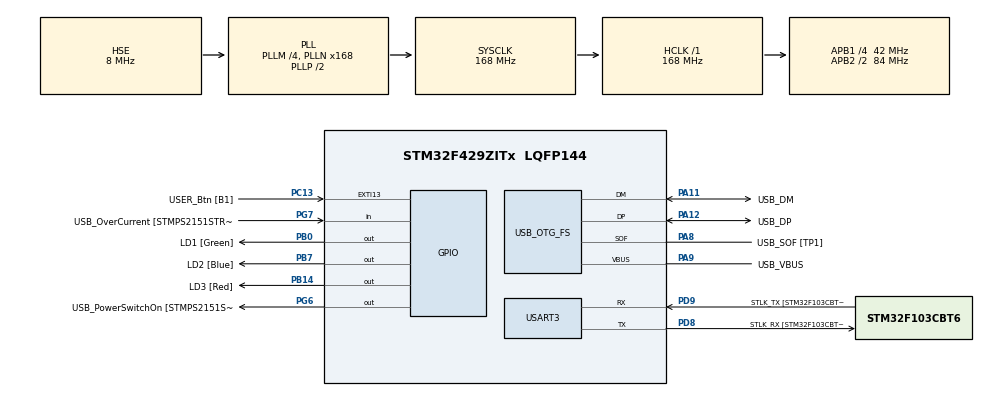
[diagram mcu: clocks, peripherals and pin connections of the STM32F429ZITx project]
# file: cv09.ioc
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Mcu.Family=STM32F4
Mcu.Name=STM32F429ZITx
Mcu.Package=LQFP144
NVIC.OTG_FS_IRQn=true\:0\:0\:false\:false\:true\:false\:true
NVIC.PriorityGroup=NVIC_PRIORITYGROUP_4
PA1.GPIO_Label=RMII_REF_CLK [LAN8742A-CZ-TR_REFCLK0]
PA1.Signal=ETH_REF_CLK
PA10.GPIO_Label=USB_ID
PA10.Signal=USB_OTG_FS_ID
PA11.GPIO_Label=USB_DM
PA11.Mode=Device_Only
PA11.Signal=USB_OTG_FS_DM
PA12.GPIO_Label=USB_DP
PA12.Mode=Device_Only
PA12.Signal=USB_OTG_FS_DP
PA13.GPIO_Label=TMS
PA13.Mode=Serial_Wire
PA13.Signal=SYS_JTMS-SWDIO
PA14.GPIO_Label=TCK
PA14.Mode=Serial_Wire
PA14.Signal=SYS_JTCK-SWCLK
PA2.GPIO_Label=RMII_MDIO [LAN8742A-CZ-TR_MDIO]
PA2.Signal=ETH_MDIO
PA7.GPIO_Label=RMII_CRS_DV [LAN8742A-CZ-TR_CRS_DV]
PA7.Signal=ETH_CRS_DV
PA8.GPIO_Label=USB_SOF [TP1]
PA8.Mode=Activate_SOF_FS
PA8.Signal=USB_OTG_FS_SOF
PA9.GPIO_Label=USB_VBUS
PA9.Mode=Activate_VBUS
PA9.Signal=USB_OTG_FS_VBUS
PB0.GPIO_Label=LD1 [Green]
PB0.Signal=GPIO_Output
PB13.GPIO_Label=RMII_TXD1 [LAN8742A-CZ-TR_TXD1]
PB13.Signal=ETH_TXD1
PB14.GPIO_Label=LD3 [Red]
PB14.Signal=GPIO_Output
PB7.GPIO_Label=LD2 [Blue]
PB7.Signal=GPIO_Output
PC1.GPIO_Label=RMII_MDC [LAN8742A-CZ-TR_MDC]
PC1.Signal=ETH_MDC
PC13.GPIO_Label=USER_Btn [B1]
PC13.Signal=GPXTI13
PC14/OSC32_IN.Mode=LSE-External-Oscillator
PC14/OSC32_IN.Signal=RCC_OSC32_IN
PC15/OSC32_OUT.Mode=LSE-External-Oscillator
PC15/OSC32_OUT.Signal=RCC_OSC32_OUT
PC4.GPIO_Label=RMII_RXD0 [LAN8742A-CZ-TR_RXD0]
PC4.Signal=ETH_RXD0
PC5.GPIO_Label=RMII_RXD1 [LAN8742A-CZ-TR_RXD1]
PC5.Signal=ETH_RXD1
PD8.GPIO_Label=STLK_RX [STM32F103CBT6_PA3]
PD8.Mode=Asynchronous
PD8.Signal=USART3_TX
PD9.GPIO_Label=STLK_TX [STM32F103CBT6_PA2]
PD9.Mode=Asynchronous
PD9.Signal=USART3_RX
PG11.GPIO_Label=RMII_TX_EN [LAN8742A-CZ-TR_TXEN]
PG11.Signal=ETH_TX_EN
PG13.GPIO_Label=RMII_TXD0 [LAN8742A-CZ-TR_TXD0]
PG13.Signal=ETH_TXD0
PG6.GPIO_Label=USB_PowerSwitchOn [STMPS2151STR_EN]
PG6.Signal=GPIO_Output
PG7.GPIO_Label=USB_OverCurrent [STMPS2151STR_FAULT]
PG7.Signal=GPIO_Input
PH0/OSC_IN.GPIO_Label=MCO [STM32F103CBT6_PA8]
PH0/OSC_IN.Mode=HSE-External-Clock-Source
PH0/OSC_IN.Signal=RCC_OSC_IN
PH1/OSC_OUT.Mode=HSE-External-Clock-Source
PH1/OSC_OUT.Signal=RCC_OSC_OUT
ProjectManager.HeapSize=0x200
ProjectManager.StackSize=0x400
ProjectManager.TargetToolchain=STM32CubeIDE
RCC.48MHZClocksFreq_Value=48000000
RCC.AHBFreq_Value=168000000
RCC.APB1CLKDivider=RCC_HCLK_DIV4
RCC.APB1Freq_Value=42000000
RCC.APB1TimFreq_Value=84000000
RCC.APB2CLKDivider=RCC_HCLK_DIV2
RCC.APB2Freq_Value=84000000
RCC.APB2TimCLKDivider=2
RCC.APB2TimFreq_Value=168000000
RCC.CortexFreq_Value=168000000
RCC.HCLKFreq_Value=168000000
RCC.HSE_VALUE=8000000
RCC.HSI_VALUE=16000000
RCC.PLLM=4
RCC.PLLMUL=RCC_PLL_MUL9
RCC.PLLN=168
RCC.PLLQ=7
RCC.PRESCALERUSB=RCC_USBCLKSOURCE_PLL_DIV1_5
RCC.SYSCLKFreq_VALUE=168000000
RCC.SYSCLKSource=RCC_SYSCLKSOURCE_PLLCLK
RCC.SYSCLKSourceVirtual=RCC_SYSCLKSOURCE_PLLCLK
RCC.USBFreq_Value=48000000
RCC.VCOOutputFreq_Value=336000000
USART3.VirtualMode=VM_ASYNC
USB_DEVICE.CLASS_NAME_FS=HID
USB_DEVICE.VirtualMode-HID_FS=Hid
USB_DEVICE.VirtualModeFS=Hid_FS
USB_OTG_FS.VirtualMode=Device_Only
VP_USB_DEVICE_VS_USB_DEVICE_HID_FS.Mode=HID_FS
board=NUCLEO-F429ZI

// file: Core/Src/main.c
/* USER CODE BEGIN Header */
/**
  ******************************************************************************
  * @file           : main.c
  * @brief          : Main program body
  ******************************************************************************
  * @attention
  *
  * <h2><center>&copy; Copyright (c) 2021 STMicroelectronics.
  * All rights reserved.</center></h2>
  *
  * This software component is licensed by ST under BSD 3-Clause license,
  * the "License"; You may not use this file except in compliance with the
  * License. You may obtain a copy of the License at:
  *                        opensource.org/licenses/BSD-3-Clause
  *
  ******************************************************************************
  */
/* USER CODE END Header */
#include "main.h"
#include "usb_device.h"

/* USER CODE BEGIN Includes */
#include "usbd_hid.h"
#include "math.h"
#include "stdbool.h"
/* USER CODE END Includes */

UART_HandleTypeDef huart3;

/* USER CODE BEGIN PV */
extern USBD_HandleTypeDef hUsbDeviceFS;

/* USER CODE END PV */

void SystemClock_Config(void);
static void MX_GPIO_Init(void);
static void MX_USART3_UART_Init(void);

/* USER CODE BEGIN 0 */
float fi;
float r1 = 10;
float r2 = 1;
float r3 = 7;
uint8_t buff[4];
static float x;
static float y;
static int32_t sx;
static int32_t sy;
static int32_t dx;
static int32_t dy;
/* USER CODE END 0 */

int main(void)
{

  /* MCU Configuration--------------------------------------------------------*/

  /* Reset of all peripherals, Initializes the Flash interface and the Systick. */
  HAL_Init();

  /* Configure the system clock */
  SystemClock_Config();

  /* Initialize all configured peripherals */
  MX_GPIO_Init();
  MX_USART3_UART_Init();
  MX_USB_DEVICE_Init();
  /* USER CODE BEGIN 2 */

  do {} while (HAL_GPIO_ReadPin(USER_Btn_GPIO_Port, USER_Btn_Pin) == 0);

 /* buff[0] = 0x00;
  buff[1] = (int8_t) (576);
  buff[2] = (int8_t) (234);
  buff[3] = 0;

  USBD_HID_SendReport(&hUsbDeviceFS, buff, sizeof(buff));
  HAL_Delay(USBD_HID_GetPollingInterval(&hUsbDeviceFS));*/

  for (fi=0; fi<=(2*3.14); fi+=(3.14/25))
  {
	  buff[0] = 0x01;
	  buff[1] = (int8_t) (r1*cos(fi));
	  buff[2] = (int8_t) (r1*sin(fi));
	  buff[3] = 0;
	  x = buff[1];
	  y = buff[2];

	  sx=x;
	  sy=y;
	  dx=x-sx;
	  dy=y-sy;

	  sx = sx+dx;
	  sy = sy+dy;

	  USBD_HID_SendReport(&hUsbDeviceFS, buff, sizeof(buff));
	  HAL_Delay(USBD_HID_GetPollingInterval(&hUsbDeviceFS));
  }

  do {} while (HAL_GPIO_ReadPin(USER_Btn_GPIO_Port, USER_Btn_Pin) == 0);

  buff[0] = 0x00;
  buff[1] = (int8_t) (64);
  buff[2] = (int8_t) (64);
  buff[3] = 0;

  USBD_HID_SendReport(&hUsbDeviceFS, buff, sizeof(buff));
  HAL_Delay(USBD_HID_GetPollingInterval(&hUsbDeviceFS));

  for (fi=0; fi<=(2*3.14); fi+=(3.14/25))
  {
	  buff[0] = 0x01;
	  buff[1] = (int8_t) (r2*cos(fi));
	  buff[2] = (int8_t) (r2*sin(fi));
	  buff[3] = 0;
	  x = buff[1];
	  y = buff[2];

	  sx=x;
	  sy=y;
	  dx=x-sx;
	  dy=y-sy;

	  sx = sx+dx;
	  sy = sy+dy;

	  USBD_HID_SendReport(&hUsbDeviceFS, buff, sizeof(buff));
	  HAL_Delay(USBD_HID_GetPollingInterval(&hUsbDeviceFS));
  }

  do {} while (HAL_GPIO_ReadPin(USER_Btn_GPIO_Port, USER_Btn_Pin) == 0);

  buff[0] = 0x00;
  buff[1] = (int8_t) (68);
  buff[2] = (int8_t) (64);
  buff[3] = 0;

  USBD_HID_SendReport(&hUsbDeviceFS, buff, sizeof(buff));
  HAL_Delay(USBD_HID_GetPollingInterval(&hUsbDeviceFS));

  for (fi=0; fi<=(2*3.14); fi+=(3.14/25))
  {
	  buff[0] = 0x01;
	  buff[1] = (int8_t) (r2*cos(fi));
	  buff[2] = (int8_t) (r2*sin(fi));
	  buff[3] = 0;
	  x = buff[1];
	  y = buff[2];

	  sx=x;
	  sy=y;
	  dx=x-sx;
	  dy=y-sy;

	  sx = sx+dx;
	  sy = sy+dy;

	  USBD_HID_SendReport(&hUsbDeviceFS, buff, sizeof(buff));
	  HAL_Delay(USBD_HID_GetPollingInterval(&hUsbDeviceFS));
  }

  do {} while (HAL_GPIO_ReadPin(USER_Btn_GPIO_Port, USER_Btn_Pin) == 0);

  buff[0] = 0x00;
  buff[1] = (int8_t) (64);
  buff[2] = (int8_t) (60);
  buff[3] = 0;

  USBD_HID_SendReport(&hUsbDeviceFS, buff, sizeof(buff));
  HAL_Delay(USBD_HID_GetPollingInterval(&hUsbDeviceFS));

  for (int i=0; i<8; i++)
  {
	  buff[0] = 0x01;
	  buff[1] = (int8_t) (64);
	  buff[2] = (int8_t) (60+i);
	  buff[3] = 0;
  }

  buff[0] = 0x00;
  buff[1] = (int8_t) (55);
  buff[2] = (int8_t) (68);
  buff[3] = 0;

  USBD_HID_SendReport(&hUsbDeviceFS, buff, sizeof(buff));
  HAL_Delay(USBD_HID_GetPollingInterval(&hUsbDeviceFS));

  do {} while (HAL_GPIO_ReadPin(USER_Btn_GPIO_Port, USER_Btn_Pin) == 0);

  for (fi=0; fi<=3.14/2; fi+=(3.14/25))
  {
	  buff[0] = 0x01;
	  buff[1] = (int8_t) (r3*cos(fi));
	  buff[2] = (int8_t) (r3*sin(fi));
	  buff[3] = 0;
	  x = buff[1];
	  y = buff[2];

	  sx=x;
	  sy=y;
	  dx=x-sx;
	  dy=y-sy;

	  sx = sx+dx;
	  sy = sy+dy;

	  USBD_HID_SendReport(&hUsbDeviceFS, buff, sizeof(buff));
	  HAL_Delay(USBD_HID_GetPollingInterval(&hUsbDeviceFS));
  }

  /* USER CODE END 2 */

  /* Infinite loop */
  /* USER CODE BEGIN WHILE */
  while (1)
  {

	/*  buff[0] = 0x01; // stiskni leve tlacitko
	  buff[1] = (int8_t)(10); // posun X +10
	  buff[2] = (int8_t)(-3); // posun Y -3
	  buff[3] = 0; // bez scrollu
	  USBD_HID_SendReport(&hUsbDeviceFS, buff, sizeof(buff));
	  HAL_Delay(USBD_HID_GetPollingInterval(&hUsbDeviceFS));*/

    /* USER CODE END WHILE */

  }
}

void SystemClock_Config(void)
{
  RCC_OscInitTypeDef RCC_OscInitStruct = {0};
  RCC_ClkInitTypeDef RCC_ClkInitStruct = {0};

  /** Configure the main internal regulator output voltage
  */
  __HAL_RCC_PWR_CLK_ENABLE();
  __HAL_PWR_VOLTAGESCALING_CONFIG(PWR_REGULATOR_VOLTAGE_SCALE1);
  /** Initializes the RCC Oscillators according to the specified parameters
  * in the RCC_OscInitTypeDef structure.
  */
  RCC_OscInitStruct.OscillatorType = RCC_OSCILLATORTYPE_HSE;
  RCC_OscInitStruct.HSEState = RCC_HSE_BYPASS;
  RCC_OscInitStruct.PLL.PLLState = RCC_PLL_ON;
  RCC_OscInitStruct.PLL.PLLSource = RCC_PLLSOURCE_HSE;
  RCC_OscInitStruct.PLL.PLLM = 4;
  RCC_OscInitStruct.PLL.PLLN = 168;
  RCC_OscInitStruct.PLL.PLLP = RCC_PLLP_DIV2;
  RCC_OscInitStruct.PLL.PLLQ = 7;
  if (HAL_RCC_OscConfig(&RCC_OscInitStruct) != HAL_OK)
  {
    Error_Handler();
  }
  /** Initializes the CPU, AHB and APB buses clocks
  */
  RCC_ClkInitStruct.ClockType = RCC_CLOCKTYPE_HCLK|RCC_CLOCKTYPE_SYSCLK
                              |RCC_CLOCKTYPE_PCLK1|RCC_CLOCKTYPE_PCLK2;
  RCC_ClkInitStruct.SYSCLKSource = RCC_SYSCLKSOURCE_PLLCLK;
  RCC_ClkInitStruct.AHBCLKDivider = RCC_SYSCLK_DIV1;
  RCC_ClkInitStruct.APB1CLKDivider = RCC_HCLK_DIV4;
  RCC_ClkInitStruct.APB2CLKDivider = RCC_HCLK_DIV2;

  if (HAL_RCC_ClockConfig(&RCC_ClkInitStruct, FLASH_LATENCY_5) != HAL_OK)
  {
    Error_Handler();
  }
}

static void MX_USART3_UART_Init(void)
{

  huart3.Instance = USART3;
  huart3.Init.BaudRate = 115200;
  huart3.Init.WordLength = UART_WORDLENGTH_8B;
  huart3.Init.StopBits = UART_STOPBITS_1;
  huart3.Init.Parity = UART_PARITY_NONE;
  huart3.Init.Mode = UART_MODE_TX_RX;
  huart3.Init.HwFlowCtl = UART_HWCONTROL_NONE;
  huart3.Init.OverSampling = UART_OVERSAMPLING_16;
  if (HAL_UART_Init(&huart3) != HAL_OK)
  {
    Error_Handler();
  }

}

static void MX_GPIO_Init(void)
{
  GPIO_InitTypeDef GPIO_InitStruct = {0};

  /* GPIO Ports Clock Enable */
  __HAL_RCC_GPIOC_CLK_ENABLE();
  __HAL_RCC_GPIOH_CLK_ENABLE();
  __HAL_RCC_GPIOA_CLK_ENABLE();
  __HAL_RCC_GPIOB_CLK_ENABLE();
  __HAL_RCC_GPIOD_CLK_ENABLE();
  __HAL_RCC_GPIOG_CLK_ENABLE();

  /*Configure GPIO pin Output Level */
  HAL_GPIO_WritePin(GPIOB, LD1_Pin|LD3_Pin|LD2_Pin, GPIO_PIN_RESET);

  /*Configure GPIO pin Output Level */
  HAL_GPIO_WritePin(USB_PowerSwitchOn_GPIO_Port, USB_PowerSwitchOn_Pin, GPIO_PIN_RESET);

  /*Configure GPIO pin : USER_Btn_Pin */
  GPIO_InitStruct.Pin = USER_Btn_Pin;
  GPIO_InitStruct.Mode = GPIO_MODE_IT_RISING;
  GPIO_InitStruct.Pull = GPIO_NOPULL;
  HAL_GPIO_Init(USER_Btn_GPIO_Port, &GPIO_InitStruct);

  /*Configure GPIO pins : RMII_MDC_Pin RMII_RXD0_Pin RMII_RXD1_Pin */
  GPIO_InitStruct.Pin = RMII_MDC_Pin|RMII_RXD0_Pin|RMII_RXD1_Pin;
  GPIO_InitStruct.Mode = GPIO_MODE_AF_PP;
  GPIO_InitStruct.Pull = GPIO_NOPULL;
  GPIO_InitStruct.Speed = GPIO_SPEED_FREQ_VERY_HIGH;
  GPIO_InitStruct.Alternate = GPIO_AF11_ETH;
  HAL_GPIO_Init(GPIOC, &GPIO_InitStruct);

  /*Configure GPIO pins : RMII_REF_CLK_Pin RMII_MDIO_Pin RMII_CRS_DV_Pin */
  GPIO_InitStruct.Pin = RMII_REF_CLK_Pin|RMII_MDIO_Pin|RMII_CRS_DV_Pin;
  GPIO_InitStruct.Mode = GPIO_MODE_AF_PP;
  GPIO_InitStruct.Pull = GPIO_NOPULL;
  GPIO_InitStruct.Speed = GPIO_SPEED_FREQ_VERY_HIGH;
  GPIO_InitStruct.Alternate = GPIO_AF11_ETH;
  HAL_GPIO_Init(GPIOA, &GPIO_InitStruct);

  /*Configure GPIO pins : LD1_Pin LD3_Pin LD2_Pin */
  GPIO_InitStruct.Pin = LD1_Pin|LD3_Pin|LD2_Pin;
  GPIO_InitStruct.Mode = GPIO_MODE_OUTPUT_PP;
  GPIO_InitStruct.Pull = GPIO_NOPULL;
  GPIO_InitStruct.Speed = GPIO_SPEED_FREQ_LOW;
  HAL_GPIO_Init(GPIOB, &GPIO_InitStruct);

  /*Configure GPIO pin : RMII_TXD1_Pin */
  GPIO_InitStruct.Pin = RMII_TXD1_Pin;
  GPIO_InitStruct.Mode = GPIO_MODE_AF_PP;
  GPIO_InitStruct.Pull = GPIO_NOPULL;
  GPIO_InitStruct.Speed = GPIO_SPEED_FREQ_VERY_HIGH;
  GPIO_InitStruct.Alternate = GPIO_AF11_ETH;
  HAL_GPIO_Init(RMII_TXD1_GPIO_Port, &GPIO_InitStruct);

  /*Configure GPIO pin : USB_PowerSwitchOn_Pin */
  GPIO_InitStruct.Pin = USB_PowerSwitchOn_Pin;
  GPIO_InitStruct.Mode = GPIO_MODE_OUTPUT_PP;
  GPIO_InitStruct.Pull = GPIO_NOPULL;
  GPIO_InitStruct.Speed = GPIO_SPEED_FREQ_LOW;
  HAL_GPIO_Init(USB_PowerSwitchOn_GPIO_Port, &GPIO_InitStruct);

  /*Configure GPIO pin : USB_OverCurrent_Pin */
  GPIO_InitStruct.Pin = USB_OverCurrent_Pin;
  GPIO_InitStruct.Mode = GPIO_MODE_INPUT;
  GPIO_InitStruct.Pull = GPIO_NOPULL;
  HAL_GPIO_Init(USB_OverCurrent_GPIO_Port, &GPIO_InitStruct);

  /*Configure GPIO pins : RMII_TX_EN_Pin RMII_TXD0_Pin */
  GPIO_InitStruct.Pin = RMII_TX_EN_Pin|RMII_TXD0_Pin;
  GPIO_InitStruct.Mode = GPIO_MODE_AF_PP;
  GPIO_InitStruct.Pull = GPIO_NOPULL;
  GPIO_InitStruct.Speed = GPIO_SPEED_FREQ_VERY_HIGH;
  GPIO_InitStruct.Alternate = GPIO_AF11_ETH;
  HAL_GPIO_Init(GPIOG, &GPIO_InitStruct);

}

void Error_Handler(void)
{
  __disable_irq();
  while (1)
  {
  }
}

/************************ (C) COPYRIGHT STMicroelectronics *****END OF FILE****/
